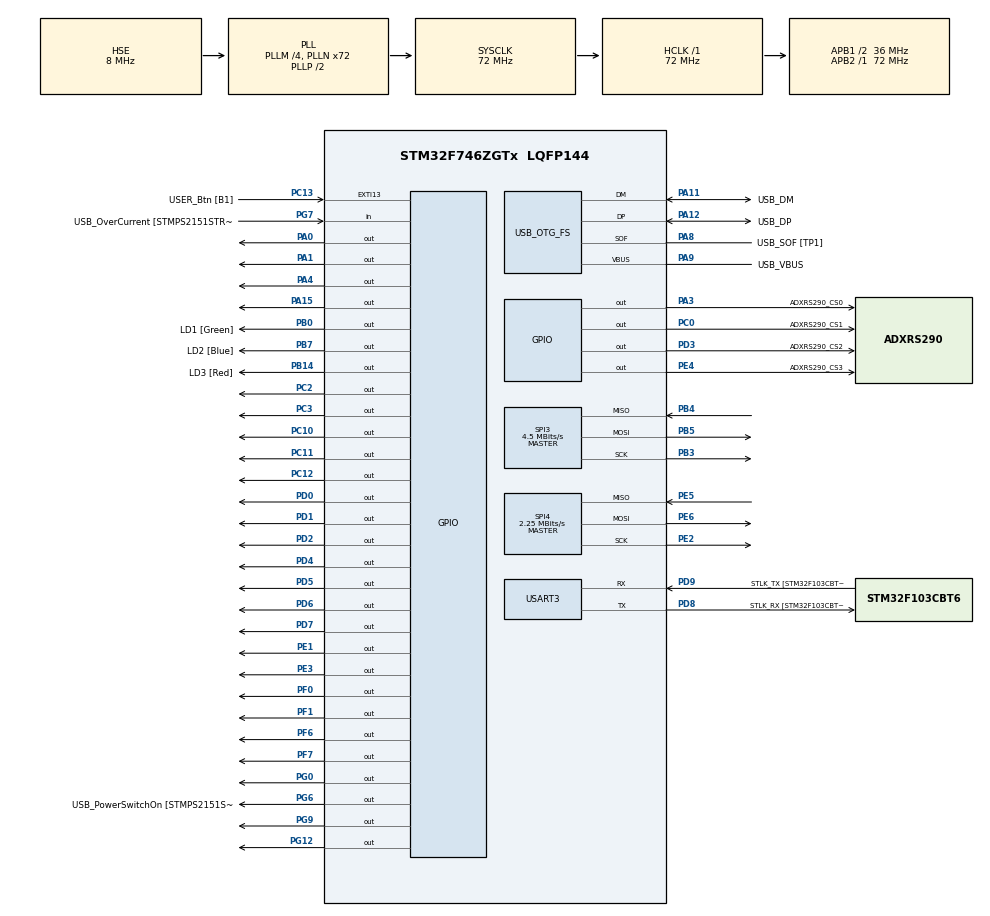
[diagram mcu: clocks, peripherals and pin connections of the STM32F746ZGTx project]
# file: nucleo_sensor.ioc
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Mcu.Family=STM32F7
Mcu.Name=STM32F746ZGTx
Mcu.Package=LQFP144
NVIC.OTG_FS_IRQn=true\:0\:0\:false\:false\:true\:false\:true
NVIC.PriorityGroup=NVIC_PRIORITYGROUP_4
PA0/WKUP.PinState=GPIO_PIN_SET
PA0/WKUP.Signal=GPIO_Output
PA1.PinState=GPIO_PIN_SET
PA1.Signal=GPIO_Output
PA10.GPIO_Label=USB_ID
PA10.Signal=USB_OTG_FS_ID
PA11.GPIO_Label=USB_DM
PA11.Mode=Device_Only
PA11.Signal=USB_OTG_FS_DM
PA12.GPIO_Label=USB_DP
PA12.Mode=Device_Only
PA12.Signal=USB_OTG_FS_DP
PA13.GPIO_Label=TMS
PA13.Mode=Serial_Wire
PA13.Signal=SYS_JTMS-SWDIO
PA14.GPIO_Label=TCK
PA14.Mode=Serial_Wire
PA14.Signal=SYS_JTCK-SWCLK
PA15.PinState=GPIO_PIN_SET
PA15.Signal=GPIO_Output
PA2.GPIO_Label=RMII_MDIO [LAN8742A-CZ-TR_MDIO]
PA2.Signal=ETH_MDIO
PA3.GPIO_Label=ADXRS290_CS0
PA3.PinState=GPIO_PIN_SET
PA3.Signal=GPIO_Output
PA4.GPIO_PuPd=GPIO_NOPULL
PA4.PinState=GPIO_PIN_SET
PA4.Signal=GPIO_Output
PA5.GPIO_PuPd=GPIO_PULLUP
PA5.Signal=SPI1_SCK
PA6.GPIO_PuPd=GPIO_NOPULL
PA6.Signal=SPI1_MISO
PA7.GPIO_PuPd=GPIO_NOPULL
PA7.Signal=SPI1_MOSI
PA8.GPIO_Label=USB_SOF [TP1]
PA8.Mode=Activate_SOF_FS
PA8.Signal=USB_OTG_FS_SOF
PA9.GPIO_Label=USB_VBUS
PA9.Mode=Activate_VBUS
PA9.Signal=USB_OTG_FS_VBUS
PB0.GPIO_Label=LD1 [Green]
PB0.Signal=GPIO_Output
PB13.GPIO_Label=RMII_TXD1 [LAN8742A-CZ-TR_TXD1]
PB13.Signal=ETH_TXD1
PB14.GPIO_Label=LD3 [Red]
PB14.Signal=GPIO_Output
PB3.GPIO_PuPd=GPIO_NOPULL
PB3.Mode=Full_Duplex_Master
PB3.Signal=SPI3_SCK
PB4.Mode=Full_Duplex_Master
PB4.Signal=SPI3_MISO
PB5.Mode=Full_Duplex_Master
PB5.Signal=SPI3_MOSI
PB7.GPIO_Label=LD2 [Blue]
PB7.Signal=GPIO_Output
PC0.GPIO_Label=ADXRS290_CS1
PC0.PinState=GPIO_PIN_SET
PC0.Signal=GPIO_Output
PC1.GPIO_Label=RMII_MDC [LAN8742A-CZ-TR_MDC]
PC1.Signal=ETH_MDC
PC10.PinState=GPIO_PIN_SET
PC10.Signal=GPIO_Output
PC11.PinState=GPIO_PIN_SET
PC11.Signal=GPIO_Output
PC12.PinState=GPIO_PIN_SET
PC12.Signal=GPIO_Output
PC13.GPIO_Label=USER_Btn [B1]
PC13.Signal=GPXTI13
PC14/OSC32_IN.Mode=LSE-External-Oscillator
PC14/OSC32_IN.Signal=RCC_OSC32_IN
PC15/OSC32_OUT.Mode=LSE-External-Oscillator
PC15/OSC32_OUT.Signal=RCC_OSC32_OUT
PC2.PinState=GPIO_PIN_SET
PC2.Signal=GPIO_Output
PC3.PinState=GPIO_PIN_SET
PC3.Signal=GPIO_Output
PC4.GPIO_Label=RMII_RXD0 [LAN8742A-CZ-TR_RXD0]
PC4.Signal=ETH_RXD0
PC5.GPIO_Label=RMII_RXD1 [LAN8742A-CZ-TR_RXD1]
PC5.Signal=ETH_RXD1
PD0.Signal=GPIO_Output
PD1.Signal=GPIO_Output
PD2.Signal=GPIO_Output
PD3.GPIO_Label=ADXRS290_CS2
PD3.PinState=GPIO_PIN_SET
PD3.Signal=GPIO_Output
PD4.PinState=GPIO_PIN_SET
PD4.Signal=GPIO_Output
PD5.PinState=GPIO_PIN_SET
PD5.Signal=GPIO_Output
PD6.PinState=GPIO_PIN_SET
PD6.Signal=GPIO_Output
PD7.PinState=GPIO_PIN_SET
PD7.Signal=GPIO_Output
PD8.GPIO_Label=STLK_RX [STM32F103CBT6_PA3]
PD8.Mode=Asynchronous
PD8.Signal=USART3_TX
PD9.GPIO_Label=STLK_TX [STM32F103CBT6_PA2]
PD9.Mode=Asynchronous
PD9.Signal=USART3_RX
PE1.PinState=GPIO_PIN_SET
PE1.Signal=GPIO_Output
PE2.GPIO_PuPd=GPIO_PULLUP
PE2.Mode=Full_Duplex_Master
PE2.Signal=SPI4_SCK
PE3.PinState=GPIO_PIN_SET
PE3.Signal=GPIO_Output
PE4.GPIO_Label=ADXRS290_CS3
PE4.PinState=GPIO_PIN_SET
PE4.Signal=GPIO_Output
PE5.Mode=Full_Duplex_Master
PE5.Signal=SPI4_MISO
PE6.Mode=Full_Duplex_Master
PE6.Signal=SPI4_MOSI
PF0.PinState=GPIO_PIN_SET
PF0.Signal=GPIO_Output
PF1.PinState=GPIO_PIN_SET
PF1.Signal=GPIO_Output
PF6.PinState=GPIO_PIN_SET
PF6.Signal=GPIO_Output
PF7.PinState=GPIO_PIN_SET
PF7.Signal=GPIO_Output
PG0.PinState=GPIO_PIN_SET
PG0.Signal=GPIO_Output
PG11.GPIO_Label=RMII_TX_EN [LAN8742A-CZ-TR_TXEN]
PG11.Signal=ETH_TX_EN
PG12.PinState=GPIO_PIN_SET
PG12.Signal=GPIO_Output
PG13.GPIO_Label=RMII_TXD0 [LAN8742A-CZ-TR_TXD0]
PG13.Signal=ETH_TXD0
PG6.GPIO_Label=USB_PowerSwitchOn [STMPS2151STR_EN]
PG6.Signal=GPIO_Output
PG7.GPIO_Label=USB_OverCurrent [STMPS2151STR_FAULT]
PG7.Signal=GPIO_Input
PG9.PinState=GPIO_PIN_SET
PG9.Signal=GPIO_Output
PH0/OSC_IN.GPIO_Label=MCO [STM32F103CBT6_PA8]
PH0/OSC_IN.Mode=HSE-External-Clock-Source
PH0/OSC_IN.Signal=RCC_OSC_IN
PH1/OSC_OUT.Mode=HSE-External-Clock-Source
PH1/OSC_OUT.Signal=RCC_OSC_OUT
ProjectManager.HeapSize=0x200
ProjectManager.StackSize=0x400
ProjectManager.TargetToolchain=TrueSTUDIO
RCC.48MHZClocksFreq_Value=24000000
RCC.AHBFreq_Value=72000000
RCC.APB1CLKDivider=RCC_HCLK_DIV2
RCC.APB1Freq_Value=36000000
RCC.APB1TimFreq_Value=72000000
RCC.APB2Freq_Value=72000000
RCC.APB2TimCLKDivider=1
RCC.APB2TimFreq_Value=72000000
RCC.CortexFreq_Value=72000000
RCC.HCLKFreq_Value=72000000
RCC.HSE_VALUE=8000000
RCC.HSI_VALUE=16000000
RCC.PLLM=4
RCC.PLLMUL=RCC_PLL_MUL9
RCC.PLLN=72
RCC.PLLQ=3
RCC.PREFETCH_ENABLE=1
RCC.PRESCALERUSB=RCC_USBCLKSOURCE_PLL_DIV1_5
RCC.SYSCLKFreq_VALUE=72000000
RCC.SYSCLKSource=RCC_SYSCLKSOURCE_PLLCLK
RCC.SYSCLKSourceVirtual=RCC_SYSCLKSOURCE_PLLCLK
RCC.USBFreq_Value=48000000
RCC.VCOOutputFreq_Value=144000000
SPI3.BaudRatePrescaler=SPI_BAUDRATEPRESCALER_8
SPI3.CalculateBaudRate=4.5 MBits/s
SPI3.DataSize=SPI_DATASIZE_8BIT
SPI3.Direction=SPI_DIRECTION_2LINES
SPI3.Mode=SPI_MODE_MASTER
SPI3.VirtualType=VM_MASTER
SPI4.BaudRatePrescaler=SPI_BAUDRATEPRESCALER_32
SPI4.CLKPhase=SPI_PHASE_2EDGE
SPI4.CLKPolarity=SPI_POLARITY_HIGH
SPI4.CalculateBaudRate=2.25 MBits/s
SPI4.DataSize=SPI_DATASIZE_8BIT
SPI4.Direction=SPI_DIRECTION_2LINES
SPI4.Mode=SPI_MODE_MASTER
SPI4.VirtualType=VM_MASTER
USART3.VirtualMode-Asynchronous=VM_ASYNC
USB_DEVICE.CLASS_NAME_FS=CDC
USB_DEVICE.USBD_DEBUG_LEVEL-CDC_FS=0
USB_DEVICE.VirtualMode-CDC_FS=Cdc
USB_DEVICE.VirtualModeFS=Cdc_FS
USB_OTG_FS.VirtualMode=Device_Only
VP_USB_DEVICE_VS_USB_DEVICE_CDC_FS.Mode=CDC_FS
board=NUCLEO-F746ZG

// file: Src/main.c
/* USER CODE BEGIN Header */
/**
  ******************************************************************************
  * @file           : main.c
  * @brief          : Main program body
  ******************************************************************************
  * @attention
  *
  * <h2><center>&copy; Copyright (c) 2019 STMicroelectronics.
  * All rights reserved.</center></h2>
  *
  * This software component is licensed by ST under BSD 3-Clause license,
  * the "License"; You may not use this file except in compliance with the
  * License. You may obtain a copy of the License at:
  *                        opensource.org/licenses/BSD-3-Clause
  *
  ******************************************************************************
  */
/* USER CODE END Header */

#include "main.h"
#include "usb_device.h"

/* USER CODE BEGIN Includes */
#include "ADXL355.h"
#include "ADXRS290.h"
#include "usbd_cdc_if.h"
/* USER CODE END Includes */

SPI_HandleTypeDef hspi3;
SPI_HandleTypeDef hspi4;

UART_HandleTypeDef huart3;

/* USER CODE BEGIN PV */
extern uint8_t UserRxBufferFS [];
extern uint8_t UserTxBufferFS [];
/* USER CODE END PV */

void SystemClock_Config(void);
static void MX_GPIO_Init(void);
static void MX_SPI3_Init(void);
static void MX_USART3_UART_Init(void);
static void MX_SPI4_Init(void);

int main(void)
{
  /* USER CODE BEGIN 1 */
	uint32_t timestamp;
	uint32_t bufferPosition = 0;
	ADXL355Device ADXL355Sensor[ADXL355_COUNT];
	ADXRS290Device ADXRS290Sensor[ADXRS290_COUNT*ADXRS290_A_COUNT];
  /* USER CODE END 1 */

  /* MCU Configuration--------------------------------------------------------*/

  /* Reset of all peripherals, Initializes the Flash interface and the Systick. */
  HAL_Init();

  /* Configure the system clock */
  SystemClock_Config();

  /* Initialize all configured peripherals */
  MX_GPIO_Init();
  MX_SPI3_Init();
  MX_USART3_UART_Init();
  MX_USB_DEVICE_Init();
  MX_SPI4_Init();
  /* USER CODE BEGIN 2 */
  HAL_Delay(10UL);
  ADXL355_Init();
  ADXRS290_Init();

  UserTxBufferFS[0] = 0xAA; // header
  UserTxBufferFS[1] = 0xBB;
  UserTxBufferFS[2] = 0xCC;
  UserTxBufferFS[3] = 0xDD;
  /* USER CODE END 2 */

  /* Infinite loop */
  /* USER CODE BEGIN WHILE */
  while (1)
  {
	  bufferPosition = 4;
	  ADXL355_Data_Scan(ADXL355Sensor, ADXL355_COUNT);
	  ADXRS290_Data_Scan(ADXRS290Sensor, ADXRS290_COUNT);
	  timestamp = HAL_GetTick();
	  memcpy(UserTxBufferFS + bufferPosition, &timestamp, 4);
	  bufferPosition += sizeof(timestamp);
	  memcpy(UserTxBufferFS + bufferPosition, &ADXL355Sensor, sizeof(ADXL355Sensor));
	  bufferPosition += sizeof(ADXL355Sensor);
	  memcpy(UserTxBufferFS + bufferPosition, &ADXRS290Sensor, sizeof(ADXRS290Sensor));
	  bufferPosition += sizeof(ADXRS290Sensor);
	  CDC_Transmit_FS (UserTxBufferFS, bufferPosition);
	  HAL_GPIO_TogglePin(GPIOB, LD2_Pin);
	  HAL_Delay(5UL);
    /* USER CODE END WHILE */

  }
}

void SystemClock_Config(void)
{
  RCC_OscInitTypeDef RCC_OscInitStruct = {0};
  RCC_ClkInitTypeDef RCC_ClkInitStruct = {0};
  RCC_PeriphCLKInitTypeDef PeriphClkInitStruct = {0};

  /** Configure LSE Drive Capability
  */
  HAL_PWR_EnableBkUpAccess();
  /** Configure the main internal regulator output voltage
  */
  __HAL_RCC_PWR_CLK_ENABLE();
  __HAL_PWR_VOLTAGESCALING_CONFIG(PWR_REGULATOR_VOLTAGE_SCALE3);
  /** Initializes the CPU, AHB and APB busses clocks
  */
  RCC_OscInitStruct.OscillatorType = RCC_OSCILLATORTYPE_HSE;
  RCC_OscInitStruct.HSEState = RCC_HSE_BYPASS;
  RCC_OscInitStruct.PLL.PLLState = RCC_PLL_ON;
  RCC_OscInitStruct.PLL.PLLSource = RCC_PLLSOURCE_HSE;
  RCC_OscInitStruct.PLL.PLLM = 4;
  RCC_OscInitStruct.PLL.PLLN = 72;
  RCC_OscInitStruct.PLL.PLLP = RCC_PLLP_DIV2;
  RCC_OscInitStruct.PLL.PLLQ = 3;
  if (HAL_RCC_OscConfig(&RCC_OscInitStruct) != HAL_OK)
  {
    Error_Handler();
  }
  /** Initializes the CPU, AHB and APB busses clocks
  */
  RCC_ClkInitStruct.ClockType = RCC_CLOCKTYPE_HCLK|RCC_CLOCKTYPE_SYSCLK
                              |RCC_CLOCKTYPE_PCLK1|RCC_CLOCKTYPE_PCLK2;
  RCC_ClkInitStruct.SYSCLKSource = RCC_SYSCLKSOURCE_PLLCLK;
  RCC_ClkInitStruct.AHBCLKDivider = RCC_SYSCLK_DIV1;
  RCC_ClkInitStruct.APB1CLKDivider = RCC_HCLK_DIV2;
  RCC_ClkInitStruct.APB2CLKDivider = RCC_HCLK_DIV1;

  if (HAL_RCC_ClockConfig(&RCC_ClkInitStruct, FLASH_LATENCY_2) != HAL_OK)
  {
    Error_Handler();
  }
  PeriphClkInitStruct.PeriphClockSelection = RCC_PERIPHCLK_USART3|RCC_PERIPHCLK_CLK48;
  PeriphClkInitStruct.Usart3ClockSelection = RCC_USART3CLKSOURCE_PCLK1;
  PeriphClkInitStruct.Clk48ClockSelection = RCC_CLK48SOURCE_PLL;
  if (HAL_RCCEx_PeriphCLKConfig(&PeriphClkInitStruct) != HAL_OK)
  {
    Error_Handler();
  }
}

static void MX_SPI3_Init(void)
{

  /* SPI3 parameter configuration*/
  hspi3.Instance = SPI3;
  hspi3.Init.Mode = SPI_MODE_MASTER;
  hspi3.Init.Direction = SPI_DIRECTION_2LINES;
  hspi3.Init.DataSize = SPI_DATASIZE_8BIT;
  hspi3.Init.CLKPolarity = SPI_POLARITY_LOW;
  hspi3.Init.CLKPhase = SPI_PHASE_1EDGE;
  hspi3.Init.NSS = SPI_NSS_SOFT;
  hspi3.Init.BaudRatePrescaler = SPI_BAUDRATEPRESCALER_8;
  hspi3.Init.FirstBit = SPI_FIRSTBIT_MSB;
  hspi3.Init.TIMode = SPI_TIMODE_DISABLE;
  hspi3.Init.CRCCalculation = SPI_CRCCALCULATION_DISABLE;
  hspi3.Init.CRCPolynomial = 7;
  hspi3.Init.CRCLength = SPI_CRC_LENGTH_DATASIZE;
  hspi3.Init.NSSPMode = SPI_NSS_PULSE_ENABLE;
  if (HAL_SPI_Init(&hspi3) != HAL_OK)
  {
    Error_Handler();
  }

}

static void MX_SPI4_Init(void)
{

  /* SPI4 parameter configuration*/
  hspi4.Instance = SPI4;
  hspi4.Init.Mode = SPI_MODE_MASTER;
  hspi4.Init.Direction = SPI_DIRECTION_2LINES;
  hspi4.Init.DataSize = SPI_DATASIZE_8BIT;
  hspi4.Init.CLKPolarity = SPI_POLARITY_HIGH;
  hspi4.Init.CLKPhase = SPI_PHASE_2EDGE;
  hspi4.Init.NSS = SPI_NSS_SOFT;
  hspi4.Init.BaudRatePrescaler = SPI_BAUDRATEPRESCALER_32;
  hspi4.Init.FirstBit = SPI_FIRSTBIT_MSB;
  hspi4.Init.TIMode = SPI_TIMODE_DISABLE;
  hspi4.Init.CRCCalculation = SPI_CRCCALCULATION_DISABLE;
  hspi4.Init.CRCPolynomial = 7;
  hspi4.Init.CRCLength = SPI_CRC_LENGTH_DATASIZE;
  hspi4.Init.NSSPMode = SPI_NSS_PULSE_DISABLE;
  if (HAL_SPI_Init(&hspi4) != HAL_OK)
  {
    Error_Handler();
  }

}

static void MX_USART3_UART_Init(void)
{

  huart3.Instance = USART3;
  huart3.Init.BaudRate = 115200;
  huart3.Init.WordLength = UART_WORDLENGTH_8B;
  huart3.Init.StopBits = UART_STOPBITS_1;
  huart3.Init.Parity = UART_PARITY_NONE;
  huart3.Init.Mode = UART_MODE_TX_RX;
  huart3.Init.HwFlowCtl = UART_HWCONTROL_NONE;
  huart3.Init.OverSampling = UART_OVERSAMPLING_16;
  huart3.Init.OneBitSampling = UART_ONE_BIT_SAMPLE_DISABLE;
  huart3.AdvancedInit.AdvFeatureInit = UART_ADVFEATURE_NO_INIT;
  if (HAL_UART_Init(&huart3) != HAL_OK)
  {
    Error_Handler();
  }

}

static void MX_GPIO_Init(void)
{
  GPIO_InitTypeDef GPIO_InitStruct = {0};

  /* GPIO Ports Clock Enable */
  __HAL_RCC_GPIOE_CLK_ENABLE();
  __HAL_RCC_GPIOC_CLK_ENABLE();
  __HAL_RCC_GPIOF_CLK_ENABLE();
  __HAL_RCC_GPIOH_CLK_ENABLE();
  __HAL_RCC_GPIOA_CLK_ENABLE();
  __HAL_RCC_GPIOB_CLK_ENABLE();
  __HAL_RCC_GPIOG_CLK_ENABLE();
  __HAL_RCC_GPIOD_CLK_ENABLE();

  /*Configure GPIO pin Output Level */
  HAL_GPIO_WritePin(GPIOE, GPIO_PIN_3|ADXRS290_CS3_Pin|GPIO_PIN_1, GPIO_PIN_SET);

  /*Configure GPIO pin Output Level */
  HAL_GPIO_WritePin(GPIOF, GPIO_PIN_0|GPIO_PIN_1|GPIO_PIN_6|GPIO_PIN_7, GPIO_PIN_SET);

  /*Configure GPIO pin Output Level */
  HAL_GPIO_WritePin(GPIOC, ADXRS290_CS1_Pin|GPIO_PIN_2|GPIO_PIN_3|GPIO_PIN_10
                          |GPIO_PIN_11|GPIO_PIN_12, GPIO_PIN_SET);

  /*Configure GPIO pin Output Level */
  HAL_GPIO_WritePin(GPIOA, GPIO_PIN_0|GPIO_PIN_1|ADXRS290_CS0_Pin|GPIO_PIN_4
                          |GPIO_PIN_15, GPIO_PIN_SET);

  /*Configure GPIO pin Output Level */
  HAL_GPIO_WritePin(GPIOB, LD1_Pin|LD3_Pin|LD2_Pin, GPIO_PIN_RESET);

  /*Configure GPIO pin Output Level */
  HAL_GPIO_WritePin(GPIOG, GPIO_PIN_0|GPIO_PIN_9|GPIO_PIN_12, GPIO_PIN_SET);

  /*Configure GPIO pin Output Level */
  HAL_GPIO_WritePin(USB_PowerSwitchOn_GPIO_Port, USB_PowerSwitchOn_Pin, GPIO_PIN_RESET);

  /*Configure GPIO pin Output Level */
  HAL_GPIO_WritePin(GPIOD, GPIO_PIN_0|GPIO_PIN_1|GPIO_PIN_2, GPIO_PIN_RESET);

  /*Configure GPIO pin Output Level */
  HAL_GPIO_WritePin(GPIOD, ADXRS290_CS2_Pin|GPIO_PIN_4|GPIO_PIN_5|GPIO_PIN_6
                          |GPIO_PIN_7, GPIO_PIN_SET);

  /*Configure GPIO pins : PE3 ADXRS290_CS3_Pin PE1 */
  GPIO_InitStruct.Pin = GPIO_PIN_3|ADXRS290_CS3_Pin|GPIO_PIN_1;
  GPIO_InitStruct.Mode = GPIO_MODE_OUTPUT_PP;
  GPIO_InitStruct.Pull = GPIO_NOPULL;
  GPIO_InitStruct.Speed = GPIO_SPEED_FREQ_LOW;
  HAL_GPIO_Init(GPIOE, &GPIO_InitStruct);

  /*Configure GPIO pin : USER_Btn_Pin */
  GPIO_InitStruct.Pin = USER_Btn_Pin;
  GPIO_InitStruct.Mode = GPIO_MODE_IT_RISING;
  GPIO_InitStruct.Pull = GPIO_NOPULL;
  HAL_GPIO_Init(USER_Btn_GPIO_Port, &GPIO_InitStruct);

  /*Configure GPIO pins : PF0 PF1 PF6 PF7 */
  GPIO_InitStruct.Pin = GPIO_PIN_0|GPIO_PIN_1|GPIO_PIN_6|GPIO_PIN_7;
  GPIO_InitStruct.Mode = GPIO_MODE_OUTPUT_PP;
  GPIO_InitStruct.Pull = GPIO_NOPULL;
  GPIO_InitStruct.Speed = GPIO_SPEED_FREQ_LOW;
  HAL_GPIO_Init(GPIOF, &GPIO_InitStruct);

  /*Configure GPIO pins : ADXRS290_CS1_Pin PC2 PC3 PC10
                           PC11 PC12 */
  GPIO_InitStruct.Pin = ADXRS290_CS1_Pin|GPIO_PIN_2|GPIO_PIN_3|GPIO_PIN_10
                          |GPIO_PIN_11|GPIO_PIN_12;
  GPIO_InitStruct.Mode = GPIO_MODE_OUTPUT_PP;
  GPIO_InitStruct.Pull = GPIO_NOPULL;
  GPIO_InitStruct.Speed = GPIO_SPEED_FREQ_LOW;
  HAL_GPIO_Init(GPIOC, &GPIO_InitStruct);

  /*Configure GPIO pins : RMII_MDC_Pin RMII_RXD0_Pin RMII_RXD1_Pin */
  GPIO_InitStruct.Pin = RMII_MDC_Pin|RMII_RXD0_Pin|RMII_RXD1_Pin;
  GPIO_InitStruct.Mode = GPIO_MODE_AF_PP;
  GPIO_InitStruct.Pull = GPIO_NOPULL;
  GPIO_InitStruct.Speed = GPIO_SPEED_FREQ_VERY_HIGH;
  GPIO_InitStruct.Alternate = GPIO_AF11_ETH;
  HAL_GPIO_Init(GPIOC, &GPIO_InitStruct);

  /*Configure GPIO pins : PA0 PA1 ADXRS290_CS0_Pin PA4
                           PA15 */
  GPIO_InitStruct.Pin = GPIO_PIN_0|GPIO_PIN_1|ADXRS290_CS0_Pin|GPIO_PIN_4
                          |GPIO_PIN_15;
  GPIO_InitStruct.Mode = GPIO_MODE_OUTPUT_PP;
  GPIO_InitStruct.Pull = GPIO_NOPULL;
  GPIO_InitStruct.Speed = GPIO_SPEED_FREQ_LOW;
  HAL_GPIO_Init(GPIOA, &GPIO_InitStruct);

  /*Configure GPIO pin : RMII_MDIO_Pin */
  GPIO_InitStruct.Pin = RMII_MDIO_Pin;
  GPIO_InitStruct.Mode = GPIO_MODE_AF_PP;
  GPIO_InitStruct.Pull = GPIO_NOPULL;
  GPIO_InitStruct.Speed = GPIO_SPEED_FREQ_VERY_HIGH;
  GPIO_InitStruct.Alternate = GPIO_AF11_ETH;
  HAL_GPIO_Init(RMII_MDIO_GPIO_Port, &GPIO_InitStruct);

  /*Configure GPIO pin : PA5 */
  GPIO_InitStruct.Pin = GPIO_PIN_5;
  GPIO_InitStruct.Mode = GPIO_MODE_AF_PP;
  GPIO_InitStruct.Pull = GPIO_PULLUP;
  GPIO_InitStruct.Speed = GPIO_SPEED_FREQ_VERY_HIGH;
  GPIO_InitStruct.Alternate = GPIO_AF5_SPI1;
  HAL_GPIO_Init(GPIOA, &GPIO_InitStruct);

  /*Configure GPIO pins : PA6 PA7 */
  GPIO_InitStruct.Pin = GPIO_PIN_6|GPIO_PIN_7;
  GPIO_InitStruct.Mode = GPIO_MODE_AF_PP;
  GPIO_InitStruct.Pull = GPIO_NOPULL;
  GPIO_InitStruct.Speed = GPIO_SPEED_FREQ_VERY_HIGH;
  GPIO_InitStruct.Alternate = GPIO_AF5_SPI1;
  HAL_GPIO_Init(GPIOA, &GPIO_InitStruct);

  /*Configure GPIO pins : LD1_Pin LD3_Pin LD2_Pin */
  GPIO_InitStruct.Pin = LD1_Pin|LD3_Pin|LD2_Pin;
  GPIO_InitStruct.Mode = GPIO_MODE_OUTPUT_PP;
  GPIO_InitStruct.Pull = GPIO_NOPULL;
  GPIO_InitStruct.Speed = GPIO_SPEED_FREQ_LOW;
  HAL_GPIO_Init(GPIOB, &GPIO_InitStruct);

  /*Configure GPIO pins : PG0 USB_PowerSwitchOn_Pin PG9 PG12 */
  GPIO_InitStruct.Pin = GPIO_PIN_0|USB_PowerSwitchOn_Pin|GPIO_PIN_9|GPIO_PIN_12;
  GPIO_InitStruct.Mode = GPIO_MODE_OUTPUT_PP;
  GPIO_InitStruct.Pull = GPIO_NOPULL;
  GPIO_InitStruct.Speed = GPIO_SPEED_FREQ_LOW;
  HAL_GPIO_Init(GPIOG, &GPIO_InitStruct);

  /*Configure GPIO pin : RMII_TXD1_Pin */
  GPIO_InitStruct.Pin = RMII_TXD1_Pin;
  GPIO_InitStruct.Mode = GPIO_MODE_AF_PP;
  GPIO_InitStruct.Pull = GPIO_NOPULL;
  GPIO_InitStruct.Speed = GPIO_SPEED_FREQ_VERY_HIGH;
  GPIO_InitStruct.Alternate = GPIO_AF11_ETH;
  HAL_GPIO_Init(RMII_TXD1_GPIO_Port, &GPIO_InitStruct);

  /*Configure GPIO pin : USB_OverCurrent_Pin */
  GPIO_InitStruct.Pin = USB_OverCurrent_Pin;
  GPIO_InitStruct.Mode = GPIO_MODE_INPUT;
  GPIO_InitStruct.Pull = GPIO_NOPULL;
  HAL_GPIO_Init(USB_OverCurrent_GPIO_Port, &GPIO_InitStruct);

  /*Configure GPIO pins : PD0 PD1 PD2 ADXRS290_CS2_Pin
                           PD4 PD5 PD6 PD7 */
  GPIO_InitStruct.Pin = GPIO_PIN_0|GPIO_PIN_1|GPIO_PIN_2|ADXRS290_CS2_Pin
                          |GPIO_PIN_4|GPIO_PIN_5|GPIO_PIN_6|GPIO_PIN_7;
  GPIO_InitStruct.Mode = GPIO_MODE_OUTPUT_PP;
  GPIO_InitStruct.Pull = GPIO_NOPULL;
  GPIO_InitStruct.Speed = GPIO_SPEED_FREQ_LOW;
  HAL_GPIO_Init(GPIOD, &GPIO_InitStruct);

  /*Configure GPIO pins : RMII_TX_EN_Pin RMII_TXD0_Pin */
  GPIO_InitStruct.Pin = RMII_TX_EN_Pin|RMII_TXD0_Pin;
  GPIO_InitStruct.Mode = GPIO_MODE_AF_PP;
  GPIO_InitStruct.Pull = GPIO_NOPULL;
  GPIO_InitStruct.Speed = GPIO_SPEED_FREQ_VERY_HIGH;
  GPIO_InitStruct.Alternate = GPIO_AF11_ETH;
  HAL_GPIO_Init(GPIOG, &GPIO_InitStruct);

}

void Error_Handler(void)
{
}

/************************ (C) COPYRIGHT STMicroelectronics *****END OF FILE****/
